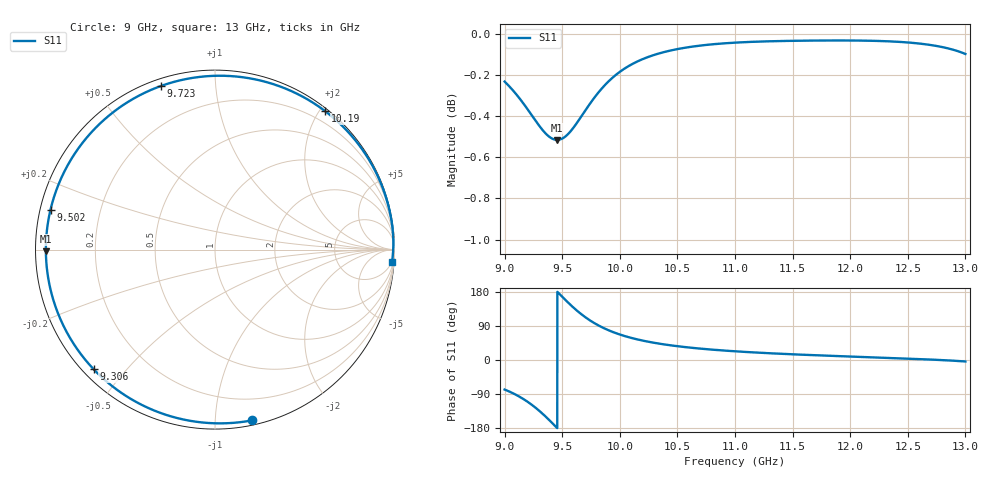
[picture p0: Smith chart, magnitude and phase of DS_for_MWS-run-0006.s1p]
! TOUCHSTONE file generated by CST DESIGN STUDIO
! Date and time: Tue Feb  4 17:12:51 2025
! Project name: C:\Work\MatlabApps\UnitCellOptimizationMatlab\CST\unitcell.cst
! Tree item: Tasks\Sweep1\SPara1\S-Parameters
! Header version: 2024
! Port assignment regex: !\s*Touchstone port\s*([0-9]+)\s*=\s*(CST MWS port|CST DES external port|CST DES block port)\s*(.+)\s* \(\"(.*)\"\)(\s*mode\s*([0-9]+))?.*
! Touchstone port assignment:
! Touchstone port 1 = CST DES external port 1 ("")
# GHz S MA R 50
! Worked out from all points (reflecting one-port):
!   4001 points, 9 GHz to 13 GHz, reference 50 ohm
!   lowest |S11| = -0.5 dB at 9.456 GHz (marker M1), VSWR 33.70, Z = 1.48 - j0.227 ohm
!   phase of S11 starts at -78 deg and turns -286 deg over the sweep
!   S11 on the Smith chart (normalised r, x): 9 GHz: 0.03, -1.24; 9.306 GHz: 0.03, -0.41; 9.502 GHz: 0.03, +0.12; 9.723 GHz: 0.03, +0.72; 10.19 GHz: 0.04, +2.07; 13 GHz: 5, -29
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9  0.9736 -77.9
9.077  0.9685 -88.4
9.174  0.9608 -105.1
9.242  0.9549 -119.6
9.306  0.9494 -135.4
9.387  0.944 -158.4
9.422  0.9428 -169.0
9.456  0.9424 -179.5
9.5  0.943 166.9
9.502  0.9431 166.3
9.554  0.9456 150.7
9.614  0.9502 134.0
9.667  0.9549 120.6
9.723  0.96 108.2
9.786  0.9655 96.1
9.86  0.971 84.3
9.928  0.9752 75.3
10  0.9789 67.3
10.091  0.9826 59.0
10.193  0.9858 51.6
10.334  0.989 43.6
10.5  0.9915 36.4
10.722  0.9936 29.4
11  0.9951 23.0
11.5  0.9961 15.0
12  0.9963 9.2
12.5  0.9952 3.7
13  0.9888 -3.9
